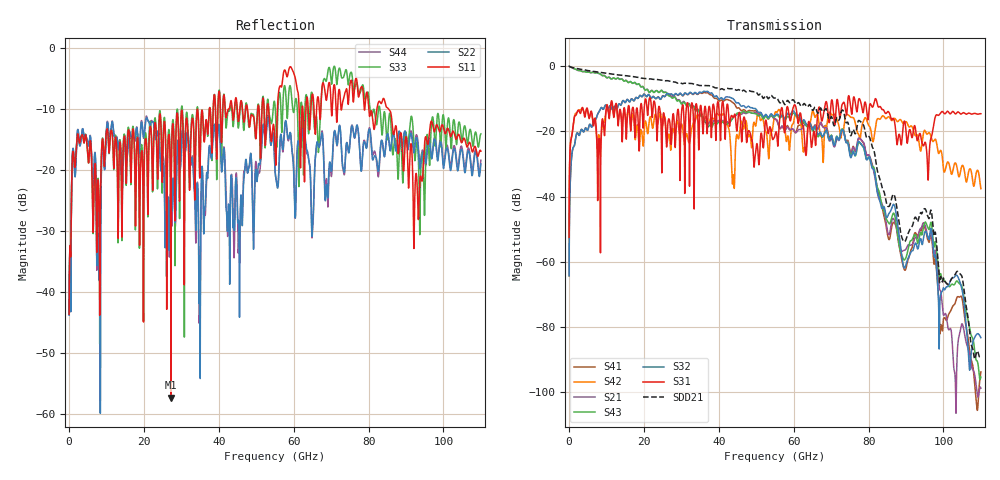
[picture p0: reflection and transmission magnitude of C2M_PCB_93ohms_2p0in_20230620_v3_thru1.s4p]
! Info: Touchstone file created by Circ.  Input file=C2M_PCB_93ohms_2p0in_20230620_v3.circ
# Hz S RI R 50
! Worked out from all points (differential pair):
!   11000 points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, 10 MHz to 110 GHz, reference 50 ohm
!   strongest paths, dB at 10 MHz, 27.51 GHz, 55.01 GHz, 82.51 GHz, 110 GHz:
!     S31: -52.5, -18.0, -21.2, -12.4, -14.6
!     S32: -64.3, -8.7, -15.1, -39.3, -83.3
!     S43: -0.1, -9.8, -15.5, -37.6, -95.3
!     S21: -0.1, -9.5, -16.2, -39.7, -98.8
!     S42: -52.3, -20.2, -14.3, -16.1, -37.6
!     S41: -64.3, -8.8, -16.4, -38.5, -93.8
!   taken as a pair (ports 3,1 in; 4,2 out), SDD21 dB: -0.1, -4.8, -9.8, -32.8, -89.4
!   lowest |S11| = -57.4 dB at 27.18 GHz (marker M1), VSWR 1.00, Z = 50.1 + j0.0852 ohm
!   |S11| at or under -10 dB: start of sweep to 37.47 GHz; 47.66 GHz to 50.39 GHz (2.73 GHz wide, 5.57 % of centre); 85.3 GHz to end of sweep (the widest 3 of 23)
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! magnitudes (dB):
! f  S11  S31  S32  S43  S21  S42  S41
! 10 MHz  -43.7  -52.5  -64.3  -0.1  -0.1  -52.3  -64.3
! 2.2 GHz  -14.4  -14.0  -20.5  -1.3  -1.3  -14.1  -20.5
! 27.18 GHz  -57.4  -22.3  -8.5  -9.5  -9.2  -25.7  -8.7
! 77.83 GHz  -6.7  -10.8  -23.6  -23.8  -22.3  -21.9  -22.5
! 89.5 GHz  -19.0  -16.9  -61.8  -59.5  -56.5  -17.5  -62.3
! 96.51 GHz  -12.5  -22.8  -50.3  -48.3  -51.3  -21.0  -52.0
! 110 GHz  -16.9  -14.6  -83.3  -95.3  -98.8  -37.6  -93.8
